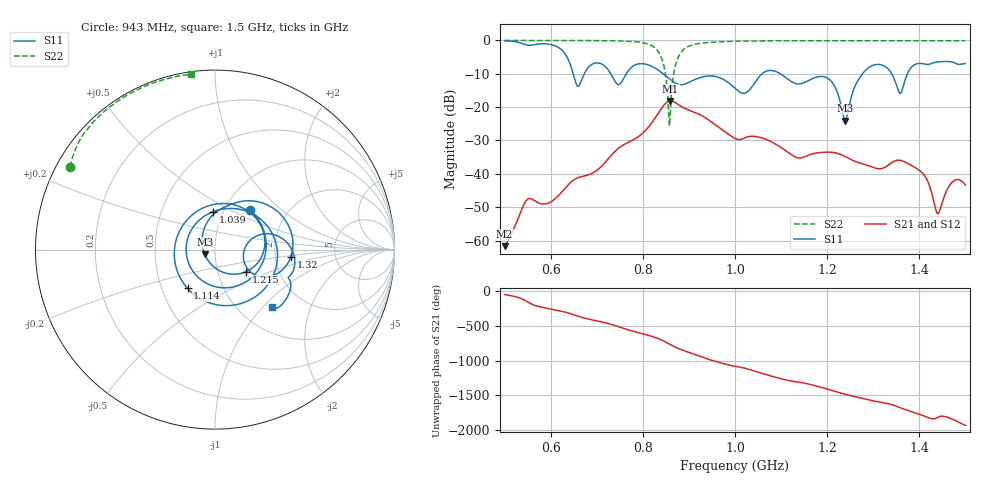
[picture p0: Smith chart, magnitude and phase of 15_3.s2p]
! TOUCHSTONE file generated by CST MICROWAVE STUDIO
! Date and time: Fri Dec 11 14:10:45 2020
! Project name: Scenario_1_Planar_Body_Tissue_Out_of_Line_v2.cst
! Parameters = {dy1=-103.8; L_HA=400; Ltissue=700; MT=2.54; Rad_Dielectric=30; Rad_Lower=7.3; Rad_Upper=30; Wtissue=700; a_HA=580; a_WG=246; b_HA=500; b_WG=121; c_HA=0; c_WG=187; d_feed=85; dx1=520; h_feed=15; h_lower=18; h_upper=40; hfat=3; hgap=25; hmuscle=50; hskin=1.5}
! Header version: 2018
! Port assignment regex: !\s*Touchstone port\s*([0-9]+)\s*=\s*(CST MWS port|CST DS port)\s*([0-9]+|Zmin|Zmax)\s*\(\"(.*)\"\)(\s*mode\s*([0-9]+))?.*
! Touchstone port assignment:
! Touchstone port 1 = CST MWS port 1 ("")
! Touchstone port 2 = CST MWS port 2 ("")
# GHz S DB R 50
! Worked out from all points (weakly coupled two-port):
!   1003 points, 500 MHz to 1.5 GHz, reference 50 ohm
!   highest |S21| = -18.16 dB at 860 MHz (marker M1); lowest = -61.7 dB at 500 MHz (marker M2)
!   lowest |S11| = -24.0 dB at 1.239 GHz (marker M3), VSWR 1.13, Z = 44.5 - j2.32 ohm
!   |S11| at or under -10 dB: 730.5 MHz to 764.1 MHz (33.52 MHz wide, 4.49 % of centre); 844 MHz to 1.059 GHz (214.6 MHz wide, 22.6 % of centre); 1.098 GHz to 1.277 GHz (178.6 MHz wide, 15 % of centre) (the widest 3 of 5)
!   |S22| runs from -25.6 to 0.0 dB; largest |S21 - S12| = 8.7e-06
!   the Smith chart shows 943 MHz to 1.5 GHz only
!   S11 on the Smith chart (normalised r, x): 943 MHz: 1.31, +0.63; 1.039 GHz: 0.90, +0.40; 1.114 GHz: 0.68, -0.31; 1.215 GHz: 1.37, -0.35; 1.32 GHz: 2.45, -0.23; 1.5 GHz: 1.40, -1.13
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0.5  -0.08 -122.0  -61.69 -50.6  -61.69 -50.6  -0.01 151.1
0.549  -1.39 -145.1  -47.71 -153.2  -47.71 -153.2  -0.01 147.8
0.63  -3.77 147.0  -44.51 58.5  -44.51 58.5  -0.03 141.7
0.667  -11.90 176.6  -40.84 -17.9  -40.84 -17.9  -0.04 138.4
0.741  -12.54 11.9  -33.07 -140.1  -33.07 -140.1  -0.14 129.1
0.787  -7.15 164.4  -29.15 126.8  -29.15 126.8  -0.44 117.9
0.834  -8.97 45.2  -21.68 34.3  -21.68 34.3  -3.46 83.7
0.86  -11.77 -30.6  -18.16 -51.9  -18.16 -51.9  -20.25 -109.5
0.881  -13.26 -102.7  -19.59 -117.1  -19.59 -117.1  -3.96 -173.4
0.943  -10.65 48.6  -23.87 97.3  -23.87 97.3  -0.62 150.3
1  -14.31 -105.4  -29.38 -3.1  -29.38 -3.1  -0.25 140.2
1.039  -13.49 92.8  -28.74 -64.7  -28.74 -64.7  -0.18 135.5
1.072  -9.06 -10.6  -29.96 -131.0  -29.96 -131.0  -0.14 132.2
1.114  -11.55 -125.3  -33.48 155.3  -33.48 155.3  -0.12 128.5
1.167  -11.54 75.1  -34.05 89.9  -34.05 89.9  -0.10 124.2
1.215  -13.46 -35.5  -33.64 0.7  -33.64 0.7  -0.08 120.5
1.239  -24.03 -155.7  -34.81 -45.6  -34.81 -45.6  -0.08 118.6
1.32  -7.43 -5.2  -38.36 -164.0  -38.36 -164.0  -0.08 112.6
1.334  -8.79 -22.7  -37.27 176.3  -37.27 176.3  -0.08 111.5
1.405  -6.91 -15.4  -39.51 15.5  -39.51 15.5  -0.10 106.0
1.44  -6.44 -28.6  -51.96 -18.9  -51.96 -18.9  -0.10 103.1
1.5  -6.91 -45.2  -43.35 -134.2  -43.35 -134.2  -0.13 97.9
